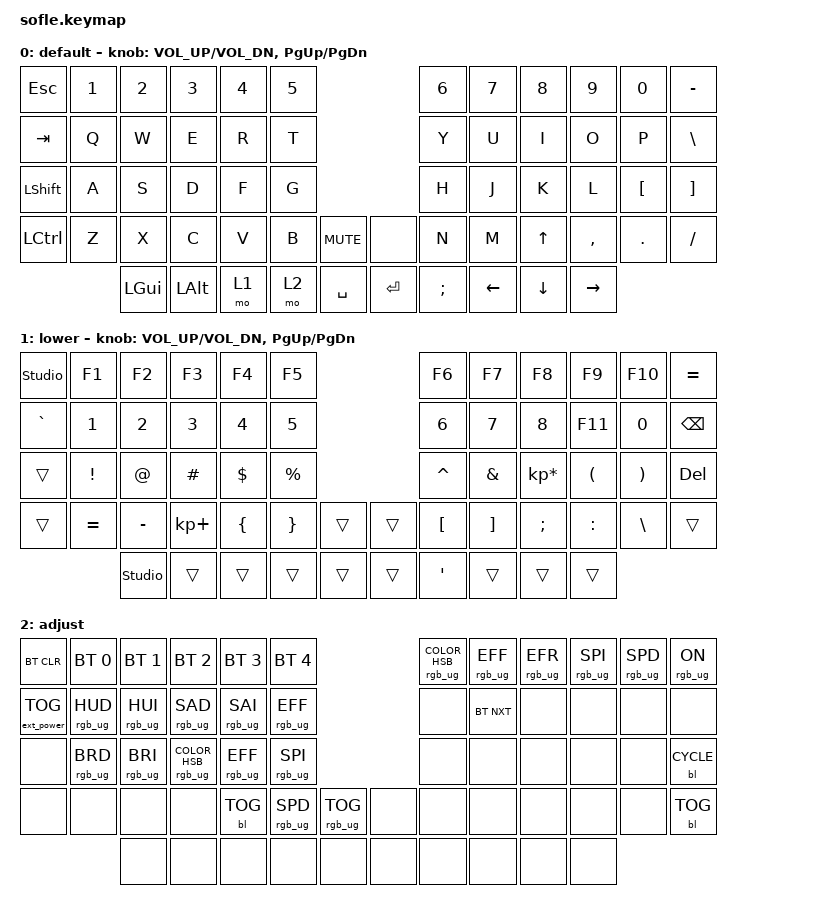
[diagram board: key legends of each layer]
/*
 * Copyright (c) 2020 The ZMK Contributors
 *
 * SPDX-License-Identifier: MIT
 */

#include <behaviors.dtsi>
#include <dt-bindings/zmk/backlight.h>
#include <dt-bindings/zmk/bt.h>
#include <dt-bindings/zmk/ext_power.h>
#include <dt-bindings/zmk/keys.h>
#include <dt-bindings/zmk/rgb.h>

#define BASE 0
#define LOWER 1
#define RAISE 2
#define ADJUST 3

/ {
    // Activate ADJUST layer by pressing raise and lower

    conditional_layers { compatible = "zmk,conditional-layers"; };

    keymap {
        compatible = "zmk,keymap";

        default_layer {
            label = "default";

            // ------------------------------------------------------------------------------------------------------------
            // |   `   |  1  |  2  |  3   |  4   |  5   |                   |  6   |  7    |  8    |  9   |   0   |       |
            // |  ESC  |  Q  |  W  |  E   |  R   |  T   |                   |  Y   |  U    |  I    |  O   |   P   | BKSPC |
            // |  TAB  |  A  |  S  |  D   |  F   |  G   |                   |  H   |  J    |  K    |  L   |   ;   |   '   |
            // | SHIFT |  Z  |  X  |  C   |  V   |  B   |  MUTE  |  |       |  N   |  M    |  ,    |  .   |   /   | SHIFT |
            //               | GUI | ALT  | CTRL | LOWER|  ENTER |  | SPACE | RAISE| CTRL  | ALT   | GUI  |

            bindings = <
&kp ESCAPE        &kp N1  &kp N2    &kp N3    &kp N4  &kp N5                           &kp N6         &kp N7    &kp N8    &kp N9     &kp N0            &kp MINUS
&kp TAB           &kp Q   &kp W     &kp E     &kp R   &kp T                            &kp Y          &kp U     &kp I     &kp O      &kp P             &kp BSLH
&kp LEFT_SHIFT    &kp A   &kp S     &kp D     &kp F   &kp G                            &kp H          &kp J     &kp K     &kp L      &kp LEFT_BRACKET  &kp RIGHT_BRACKET
&kp LEFT_CONTROL  &kp Z   &kp X     &kp C     &kp V   &kp B   &kp C_MUTE    &none      &kp N          &kp M     &kp UP    &kp COMMA  &kp PERIOD        &kp SLASH
                          &kp LGUI  &kp LALT  &mo 1   &mo 2   &kp SPACE     &kp ENTER  &kp SEMICOLON  &kp LEFT  &kp DOWN  &kp RIGHT
            >;

            sensor-bindings = <&inc_dec_kp C_VOL_UP C_VOL_DN &inc_dec_kp PG_UP PG_DN>;
        };

        lower_layer {
            label = "lower";

            // TODO: Some binds are waiting for shifted keycode support.
            // ------------------------------------------------------------------------------------------------------------
            // |       |  F1 |  F2 |  F3  |  F4  |  F5  |                   |  F6  |  F7   |  F8   |  F9  |  F10  |  F11  |
            // |   `   |  1  |  2  |  3   |  4   |  5   |                   |  6   |  7    |  8    |  9   |   0   |  F12  |
            // |       |  !  |  @  |  #   |  $   |  %   |                   |  ^   |  &    |  *    |  (   |   )   |   |   |
            // |       |  =  |  -  |  +   |  {   |  }   |        |  |       |  [   |  ]    |  ;    |  :   |   \   |       |
            //               |     |      |      |      |        |  |       |      |       |       |      |

            bindings = <
&studio_unlock  &kp F1        &kp F2          &kp F3       &kp F4    &kp F5                       &kp F6            &kp F7    &kp F8           &kp F9     &kp F10   &kp EQUAL
&kp GRAVE       &kp NUMBER_1  &kp N2          &kp N3       &kp N4    &kp N5                       &kp N6            &kp N7    &kp N8           &kp F11    &kp N0    &kp BACKSPACE
&trans          &kp EXCL      &kp AT          &kp HASH     &kp DLLR  &kp PRCNT                    &kp CARET         &kp AMPS  &kp KP_MULTIPLY  &kp LPAR   &kp RPAR  &kp DELETE
&trans          &kp EQUAL     &kp MINUS       &kp KP_PLUS  &kp LBRC  &kp RBRC   &trans    &trans  &kp LBKT          &kp RBKT  &kp SEMI         &kp COLON  &kp BSLH  &trans
                              &studio_unlock  &trans       &trans    &trans     &trans    &trans  &kp SINGLE_QUOTE  &trans    &trans           &trans
            >;

            sensor-bindings = <&inc_dec_kp C_VOL_UP C_VOL_DN &inc_dec_kp PG_UP PG_DN>;
        };

        raise_layer {
            // ----------------------------------------------------------------------------------------------------------------------------
            // | BTCLR  |  BT1    |  BT2    |   BT3   |   BT4   |   BT5   |                  |      |      |       |      |       |       |
            // | EXTPWR | RGB_HUD | RGB_HUI | RGB_SAD | RGB_SAI | RGB_EFF |                  |      |      |       |      |       |       |
            // |        | RGB_BRD | RGB_BRI |         |         |         |                  |      |      |       |      |       |       |
            // |        |         |         |         |         |         | RGB_TOG | |      |      |      |       |      |       |       |
            //                    |         |         |         |         |         | |      |      |      |       |      |

            label = "adjust";
            bindings = <
&bt BT_CLR         &bt BT_SEL 0     &bt BT_SEL 1     &bt BT_SEL 2                      &bt BT_SEL 3     &bt BT_SEL 4                               &rgb_ug RGB_COLOR_HSB(132,72,40)  &rgb_ug RGB_EFF  &rgb_ug RGB_EFR  &rgb_ug RGB_SPI  &rgb_ug RGB_SPD  &rgb_ug RGB_ON
&ext_power EP_TOG  &rgb_ug RGB_HUD  &rgb_ug RGB_HUI  &rgb_ug RGB_SAD                   &rgb_ug RGB_SAI  &rgb_ug RGB_EFF                            &none                             &bt BT_NXT       &none            &none            &none            &none
&none              &rgb_ug RGB_BRD  &rgb_ug RGB_BRI  &rgb_ug RGB_COLOR_HSB(104,68,57)  &rgb_ug RGB_EFF  &rgb_ug RGB_SPI                            &none                             &none            &none            &none            &none            &bl BL_CYCLE
&none              &none            &none            &none                             &bl BL_TOG       &rgb_ug RGB_SPD  &rgb_ug RGB_TOG    &none  &none                             &none            &none            &none            &none            &bl BL_TOG
                                    &none            &none                             &none            &none            &none              &none  &none                             &none            &none            &none
            >;
        };
    };
};
